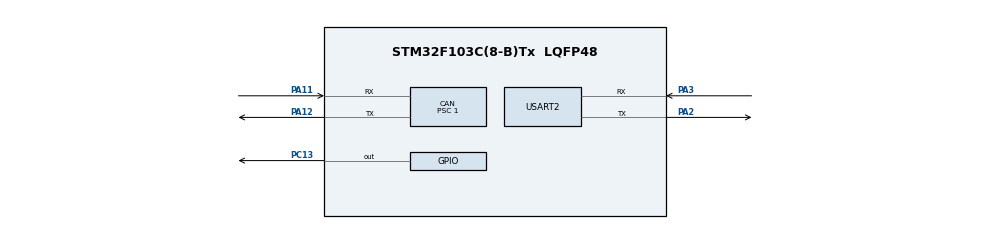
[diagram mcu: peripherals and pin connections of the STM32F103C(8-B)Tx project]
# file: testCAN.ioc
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CAN.BS1=CAN_BS1_6TQ
CAN.CalculateBaudRate=1000000
CAN.CalculateTimeBit=1000
CAN.CalculateTimeQuantum=125.0
CAN.Mode=CAN_MODE_LOOPBACK
CAN.NART=ENABLE
CAN.Prescaler=1
Mcu.Family=STM32F1
Mcu.Name=STM32F103C(8-B)Tx
Mcu.Package=LQFP48
NVIC.PriorityGroup=NVIC_PRIORITYGROUP_4
PA11.Mode=CAN_Activate
PA11.Signal=CAN_RX
PA12.Mode=CAN_Activate
PA12.Signal=CAN_TX
PA13.Mode=Serial_Wire
PA13.Signal=SYS_JTMS-SWDIO
PA14.Mode=Serial_Wire
PA14.Signal=SYS_JTCK-SWCLK
PA2.Mode=Asynchronous
PA2.Signal=USART2_TX
PA3.Mode=Asynchronous
PA3.Signal=USART2_RX
PC13-TAMPER-RTC.Signal=GPIO_Output
ProjectManager.HeapSize=0x200
ProjectManager.StackSize=0x400
ProjectManager.TargetToolchain=CMake
RCC.APB1Freq_Value=8000000
RCC.APB2Freq_Value=8000000
USART2.VirtualMode=VM_ASYNC
board=custom

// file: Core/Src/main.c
/* USER CODE BEGIN Header */
/**
  ******************************************************************************
  * @file           : main.c
  * @brief          : Main program body
  ******************************************************************************
  * @attention
  *
  * Copyright (c) 2025 STMicroelectronics.
  * All rights reserved.
  *
  * This software is licensed under terms that can be found in the LICENSE file
  * in the root directory of this software component.
  * If no LICENSE file comes with this software, it is provided AS-IS.
  *
  ******************************************************************************
  */
/* USER CODE END Header */
#include "main.h"

/* USER CODE BEGIN Includes */
#include <stdio.h>
#include <string.h>
/* USER CODE END Includes */

CAN_HandleTypeDef hcan;

UART_HandleTypeDef huart2;

void SystemClock_Config(void);
static void MX_GPIO_Init(void);
static void MX_CAN_Init(void);
static void MX_USART2_UART_Init(void);

/* USER CODE BEGIN 0 */
void CAN_Tx(void);
void CAN_Filter(void);
/* USER CODE END 0 */

int main(void)
{

  /* MCU Configuration--------------------------------------------------------*/

  /* Reset of all peripherals, Initializes the Flash interface and the Systick. */
  HAL_Init();

  /* Configure the system clock */
  SystemClock_Config();

  /* Initialize all configured peripherals */
  MX_GPIO_Init();
  MX_CAN_Init();
  MX_USART2_UART_Init();
  /* USER CODE BEGIN 2 */
  CAN_Filter();

  /* CAN go to normal mode */
  HAL_CAN_Start(&hcan);
  CAN_Tx();

  /* USER CODE END 2 */

  /* Infinite loop */
  while (1)
  {

  }
}

void SystemClock_Config(void)
{
  RCC_OscInitTypeDef RCC_OscInitStruct = {0};
  RCC_ClkInitTypeDef RCC_ClkInitStruct = {0};

  /** Initializes the RCC Oscillators according to the specified parameters
  * in the RCC_OscInitTypeDef structure.
  */
  RCC_OscInitStruct.OscillatorType = RCC_OSCILLATORTYPE_HSI;
  RCC_OscInitStruct.HSIState = RCC_HSI_ON;
  RCC_OscInitStruct.HSICalibrationValue = RCC_HSICALIBRATION_DEFAULT;
  RCC_OscInitStruct.PLL.PLLState = RCC_PLL_NONE;
  if (HAL_RCC_OscConfig(&RCC_OscInitStruct) != HAL_OK)
  {
    Error_Handler();
  }

  /** Initializes the CPU, AHB and APB buses clocks
  */
  RCC_ClkInitStruct.ClockType = RCC_CLOCKTYPE_HCLK|RCC_CLOCKTYPE_SYSCLK
                              |RCC_CLOCKTYPE_PCLK1|RCC_CLOCKTYPE_PCLK2;
  RCC_ClkInitStruct.SYSCLKSource = RCC_SYSCLKSOURCE_HSI;
  RCC_ClkInitStruct.AHBCLKDivider = RCC_SYSCLK_DIV1;
  RCC_ClkInitStruct.APB1CLKDivider = RCC_HCLK_DIV1;
  RCC_ClkInitStruct.APB2CLKDivider = RCC_HCLK_DIV1;

  if (HAL_RCC_ClockConfig(&RCC_ClkInitStruct, FLASH_LATENCY_0) != HAL_OK)
  {
    Error_Handler();
  }
}

static void MX_CAN_Init(void)
{

  hcan.Instance = CAN1;
  hcan.Init.Prescaler = 1;
  hcan.Init.Mode = CAN_MODE_LOOPBACK;
  hcan.Init.SyncJumpWidth = CAN_SJW_1TQ;
  hcan.Init.TimeSeg1 = CAN_BS1_6TQ;
  hcan.Init.TimeSeg2 = CAN_BS2_1TQ;
  hcan.Init.TimeTriggeredMode = DISABLE;
  hcan.Init.AutoBusOff = DISABLE;
  hcan.Init.AutoWakeUp = DISABLE;
  hcan.Init.AutoRetransmission = ENABLE;
  hcan.Init.ReceiveFifoLocked = DISABLE;
  hcan.Init.TransmitFifoPriority = DISABLE;
  if (HAL_CAN_Init(&hcan) != HAL_OK)
  {
    Error_Handler();
  }

}

static void MX_USART2_UART_Init(void)
{

  huart2.Instance = USART2;
  huart2.Init.BaudRate = 115200;
  huart2.Init.WordLength = UART_WORDLENGTH_8B;
  huart2.Init.StopBits = UART_STOPBITS_1;
  huart2.Init.Parity = UART_PARITY_NONE;
  huart2.Init.Mode = UART_MODE_TX_RX;
  huart2.Init.HwFlowCtl = UART_HWCONTROL_NONE;
  huart2.Init.OverSampling = UART_OVERSAMPLING_16;
  if (HAL_UART_Init(&huart2) != HAL_OK)
  {
    Error_Handler();
  }

}

static void MX_GPIO_Init(void)
{
  GPIO_InitTypeDef GPIO_InitStruct = {0};

  /* GPIO Ports Clock Enable */
  __HAL_RCC_GPIOC_CLK_ENABLE();
  __HAL_RCC_GPIOA_CLK_ENABLE();

  /*Configure GPIO pin Output Level */
  HAL_GPIO_WritePin(GPIOC, GPIO_PIN_13, GPIO_PIN_SET);

  /*Configure GPIO pin : PC13 */
  GPIO_InitStruct.Pin = GPIO_PIN_13;
  GPIO_InitStruct.Mode = GPIO_MODE_OUTPUT_PP;
  GPIO_InitStruct.Pull = GPIO_NOPULL;
  GPIO_InitStruct.Speed = GPIO_SPEED_FREQ_LOW;
  HAL_GPIO_Init(GPIOC, &GPIO_InitStruct);

}

/* USER CODE BEGIN 4 */

void CAN_Filter(void){
  CAN_FilterTypeDef sFilterConfig;
  sFilterConfig.FilterBank = 0;
  sFilterConfig.FilterMode = CAN_FILTERMODE_IDMASK;
  sFilterConfig.FilterScale = CAN_FILTERSCALE_32BIT;
  sFilterConfig.FilterIdHigh = 0x0000;
  sFilterConfig.FilterIdLow = 0x0000;
  sFilterConfig.FilterMaskIdHigh = 0x0000;
  sFilterConfig.FilterMaskIdLow = 0x0000;
  sFilterConfig.FilterFIFOAssignment = CAN_FILTER_FIFO0;
  sFilterConfig.FilterActivation = ENABLE;
  sFilterConfig.SlaveStartFilterBank = 14;
  HAL_CAN_ConfigFilter(&hcan, &sFilterConfig);
}

void CAN_Tx(void){
  CAN_TxHeaderTypeDef TxHeader;
  CAN_RxHeaderTypeDef RxHeader;
  uint8_t TxData[] = {'O','r','i','o','n'};
  uint8_t RxData[10];

  uint32_t Local_u32MailBox;
  char Local_chTransmitting[50];

  TxHeader.StdId = 0x450;
  TxHeader.IDE = CAN_ID_STD;
  TxHeader.RTR = CAN_RTR_DATA;
  TxHeader.DLC = 5;

  if(HAL_CAN_AddTxMessage(&hcan,&TxHeader,TxData,&Local_u32MailBox) != HAL_OK){
    Error_Handler();
  }

  // Wait for message to be received in FIFO
  while (HAL_CAN_GetRxFifoFillLevel(&hcan, CAN_RX_FIFO0) == 0);

  sprintf(Local_chTransmitting,"Transmittion Success!\r\n");
  HAL_UART_Transmit(&huart2,(uint8_t*)Local_chTransmitting,strlen(Local_chTransmitting),HAL_MAX_DELAY);
   // Read message from FIFO
    if (HAL_CAN_GetRxMessage(&hcan, CAN_RX_FIFO0, &RxHeader, RxData) == HAL_OK) {
        // Message received successfully
        char buffer[50];
          HAL_GPIO_WritePin(GPIOC, GPIO_PIN_13, GPIO_PIN_RESET);
          HAL_Delay(1000);
          HAL_GPIO_WritePin(GPIOC, GPIO_PIN_13, GPIO_PIN_SET);
        sprintf(buffer, "Received: %.5s\r\n", RxData);
        HAL_UART_Transmit(&huart2, (uint8_t*)buffer, strlen(buffer), HAL_MAX_DELAY);
    } else {
        HAL_UART_Transmit(&huart2, (uint8_t*)"Receive error\r\n", 15, HAL_MAX_DELAY);
    }
}

/* USER CODE END 4 */

void Error_Handler(void)
{
  __disable_irq();
  while (1)
  {
  }
}
